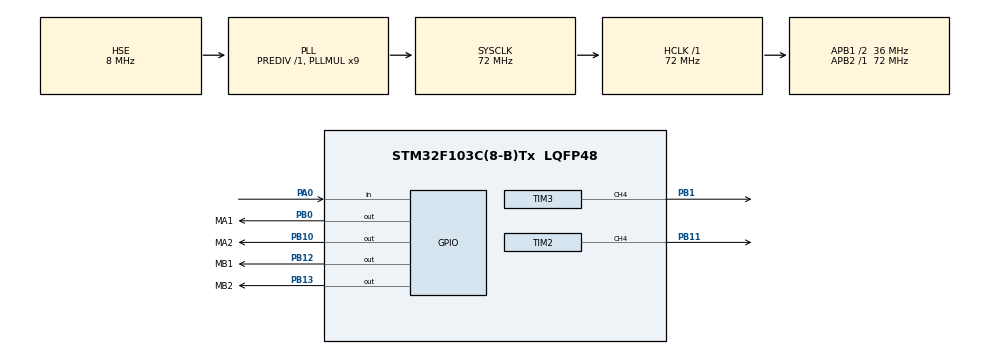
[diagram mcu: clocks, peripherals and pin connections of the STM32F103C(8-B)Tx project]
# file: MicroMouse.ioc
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Mcu.Family=STM32F1
Mcu.Name=STM32F103C(8-B)Tx
Mcu.Package=LQFP48
NVIC.PriorityGroup=NVIC_PRIORITYGROUP_4
PA0-WKUP.Signal=GPIO_Input
PA13.Mode=Serial_Wire
PA13.Signal=SYS_JTMS-SWDIO
PA14.Mode=Serial_Wire
PA14.Signal=SYS_JTCK-SWCLK
PB0.GPIO_Label=MA1
PB0.Signal=GPIO_Output
PB1.Signal=S_TIM3_CH4
PB10.GPIO_Label=MA2
PB10.Signal=GPIO_Output
PB11.Signal=S_TIM2_CH4
PB12.GPIO_Label=MB1
PB12.Signal=GPIO_Output
PB13.GPIO_Label=MB2
PB13.Signal=GPIO_Output
PD0-OSC_IN.Mode=HSE-External-Oscillator
PD0-OSC_IN.Signal=RCC_OSC_IN
PD1-OSC_OUT.Mode=HSE-External-Oscillator
PD1-OSC_OUT.Signal=RCC_OSC_OUT
ProjectManager.HeapSize=0x200
ProjectManager.StackSize=0x400
ProjectManager.TargetToolchain=MDK-ARM V5.32
RCC.AHBFreq_Value=72000000
RCC.APB1CLKDivider=RCC_HCLK_DIV2
RCC.APB1Freq_Value=36000000
RCC.APB1TimFreq_Value=72000000
RCC.APB2Freq_Value=72000000
RCC.APB2TimFreq_Value=72000000
RCC.HCLKFreq_Value=72000000
RCC.PLLMUL=RCC_PLL_MUL9
RCC.PLLSourceVirtual=RCC_PLLSOURCE_HSE
RCC.SYSCLKFreq_VALUE=72000000
RCC.SYSCLKSource=RCC_SYSCLKSOURCE_PLLCLK
RCC.USBFreq_Value=72000000
SH.S_TIM2_CH4.0=TIM2_CH4,PWM Generation4 CH4
SH.S_TIM3_CH4.0=TIM3_CH4,PWM Generation4 CH4
TIM2.Channel-PWM\ Generation4\ CH4=TIM_CHANNEL_4
TIM2.Period=625
TIM2.Prescaler=127
TIM3.Channel-PWM\ Generation4\ CH4=TIM_CHANNEL_4
TIM3.Period=625
TIM3.Prescaler=127
VP_TIM2_VS_ClockSourceINT.Mode=Internal
VP_TIM3_VS_ClockSourceINT.Mode=Internal
board=custom

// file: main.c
/* USER CODE BEGIN Header */
/**
  ******************************************************************************
  * @file           : main.c
  * @brief          : Main program body
  ******************************************************************************
  * @attention
  *
  * Copyright (c) 2022 STMicroelectronics.
  * All rights reserved.
  *
  * This software is licensed under terms that can be found in the LICENSE file
  * in the root directory of this software component.
  * If no LICENSE file comes with this software, it is provided AS-IS.
  *
  ******************************************************************************
  */
/* USER CODE END Header */
#include "main.h"
#include "tim.h"
#include "gpio.h"

/* USER CODE BEGIN PV */
int sensor[5]={0,0,0,0,0};
int error=0;
int stopconfig=0;
/* USER CODE END PV */

void SystemClock_Config(void);
/* USER CODE BEGIN PFP */
void CarGo(void);
void CarStop(void);
void CarBack(void);
void CarLeft(void);
void CarRight(void);
void read_sensor(void);
/* USER CODE END PFP */

int main(void)
{

  /* MCU Configuration--------------------------------------------------------*/

  /* Reset of all peripherals, Initializes the Flash interface and the Systick. */
  HAL_Init();

  /* Configure the system clock */
  SystemClock_Config();

  /* Initialize all configured peripherals */
  MX_GPIO_Init();
  MX_TIM2_Init();
  MX_TIM3_Init();
  /* USER CODE BEGIN 2 */
  HAL_TIM_Base_Start(&htim2);
  HAL_TIM_Base_Start(&htim3);
	HAL_TIM_PWM_Start(&htim2,TIM_CHANNEL_4);
	HAL_TIM_PWM_Start(&htim3,TIM_CHANNEL_4);
  /* USER CODE END 2 */

  /* Infinite loop */
  while (1)
  {

    /* USER CODE BEGIN 3 */
		read_sensor();
		if( stopconfig == 0)
			{
			 CarGo();
			}
		 else
			 {
			 CarStop();
		   }
  }
  /* USER CODE END 3 */
}

void SystemClock_Config(void)
{
  RCC_OscInitTypeDef RCC_OscInitStruct = {0};
  RCC_ClkInitTypeDef RCC_ClkInitStruct = {0};

  /** Initializes the RCC Oscillators according to the specified parameters
  * in the RCC_OscInitTypeDef structure.
  */
  RCC_OscInitStruct.OscillatorType = RCC_OSCILLATORTYPE_HSE;
  RCC_OscInitStruct.HSEState = RCC_HSE_ON;
  RCC_OscInitStruct.HSEPredivValue = RCC_HSE_PREDIV_DIV1;
  RCC_OscInitStruct.HSIState = RCC_HSI_ON;
  RCC_OscInitStruct.PLL.PLLState = RCC_PLL_ON;
  RCC_OscInitStruct.PLL.PLLSource = RCC_PLLSOURCE_HSE;
  RCC_OscInitStruct.PLL.PLLMUL = RCC_PLL_MUL9;
  if (HAL_RCC_OscConfig(&RCC_OscInitStruct) != HAL_OK)
  {
    Error_Handler();
  }
  /** Initializes the CPU, AHB and APB buses clocks
  */
  RCC_ClkInitStruct.ClockType = RCC_CLOCKTYPE_HCLK|RCC_CLOCKTYPE_SYSCLK
                              |RCC_CLOCKTYPE_PCLK1|RCC_CLOCKTYPE_PCLK2;
  RCC_ClkInitStruct.SYSCLKSource = RCC_SYSCLKSOURCE_PLLCLK;
  RCC_ClkInitStruct.AHBCLKDivider = RCC_SYSCLK_DIV1;
  RCC_ClkInitStruct.APB1CLKDivider = RCC_HCLK_DIV2;
  RCC_ClkInitStruct.APB2CLKDivider = RCC_HCLK_DIV1;

  if (HAL_RCC_ClockConfig(&RCC_ClkInitStruct, FLASH_LATENCY_2) != HAL_OK)
  {
    Error_Handler();
  }
}

/* USER CODE BEGIN 4 */
///------------------------------------------------------CarGo-----------------------------------------------------
void CarGo(void){
   __HAL_TIM_SET_COMPARE (&htim2, TIM_CHANNEL_4, 300);
   __HAL_TIM_SET_COMPARE (&htim3, TIM_CHANNEL_4, 300);

  HAL_GPIO_WritePin(GPIOB, GPIO_PIN_0, GPIO_PIN_SET);
  HAL_GPIO_WritePin(GPIOB, GPIO_PIN_10, GPIO_PIN_RESET);

  HAL_GPIO_WritePin(GPIOB, GPIO_PIN_12, GPIO_PIN_SET);
  HAL_GPIO_WritePin(GPIOB, GPIO_PIN_13, GPIO_PIN_RESET);

}
///------------------------------------------------------CarStop--------------------------------------------------
void CarStop(void){
   __HAL_TIM_SET_COMPARE (&htim2, TIM_CHANNEL_4, 600);
   __HAL_TIM_SET_COMPARE (&htim3, TIM_CHANNEL_4, 600);

  HAL_GPIO_WritePin(GPIOB, GPIO_PIN_0, GPIO_PIN_SET);
  HAL_GPIO_WritePin(GPIOB, GPIO_PIN_10, GPIO_PIN_SET);

  HAL_GPIO_WritePin(GPIOB, GPIO_PIN_12, GPIO_PIN_SET);
  HAL_GPIO_WritePin(GPIOB, GPIO_PIN_13, GPIO_PIN_SET);

}
///-----------------------------------------------------CarBack---------------------------------------------------
void CarBack(void){
   __HAL_TIM_SET_COMPARE (&htim2, TIM_CHANNEL_4, 300);
   __HAL_TIM_SET_COMPARE (&htim3, TIM_CHANNEL_4, 300);

  HAL_GPIO_WritePin(GPIOB, GPIO_PIN_0, GPIO_PIN_RESET);
  HAL_GPIO_WritePin(GPIOB, GPIO_PIN_10, GPIO_PIN_SET);

  HAL_GPIO_WritePin(GPIOB, GPIO_PIN_12, GPIO_PIN_RESET);
  HAL_GPIO_WritePin(GPIOB, GPIO_PIN_13, GPIO_PIN_SET);

}
///----------------------------------------------------CarLeft-----------------------------------------------------
void CarLeft(void){
   __HAL_TIM_SET_COMPARE (&htim2, TIM_CHANNEL_4, 300);
   __HAL_TIM_SET_COMPARE (&htim3, TIM_CHANNEL_4, 600);

  HAL_GPIO_WritePin(GPIOB, GPIO_PIN_0, GPIO_PIN_SET);
  HAL_GPIO_WritePin(GPIOB, GPIO_PIN_10, GPIO_PIN_RESET);

  HAL_GPIO_WritePin(GPIOB, GPIO_PIN_12, GPIO_PIN_SET);
  HAL_GPIO_WritePin(GPIOB, GPIO_PIN_13, GPIO_PIN_RESET);

}

///----------------------------------------------------CarRight-----------------------------------------------------
void CarRight(void){
   __HAL_TIM_SET_COMPARE (&htim2, TIM_CHANNEL_4, 600);
   __HAL_TIM_SET_COMPARE (&htim3, TIM_CHANNEL_4, 300);

  HAL_GPIO_WritePin(GPIOA, GPIO_PIN_0, GPIO_PIN_SET);
  HAL_GPIO_WritePin(GPIOA, GPIO_PIN_10, GPIO_PIN_RESET);

  HAL_GPIO_WritePin(GPIOA, GPIO_PIN_12, GPIO_PIN_SET);
  HAL_GPIO_WritePin(GPIOA, GPIO_PIN_13, GPIO_PIN_RESET);

}
//#######################################################Read_Sensor############################################
void read_sensor(void)
{
	sensor[0]= HAL_GPIO_ReadPin(GPIOA,GPIO_PIN_0);
	if(sensor[0] == 0)
{
	error = 0;
	stopconfig=0;
}
else if(sensor[0] == 1)
{
	error=0;
	stopconfig++;
}

}
/* USER CODE END 4 */

void Error_Handler(void)
{
  __disable_irq();
  while (1)
  {
  }
}
